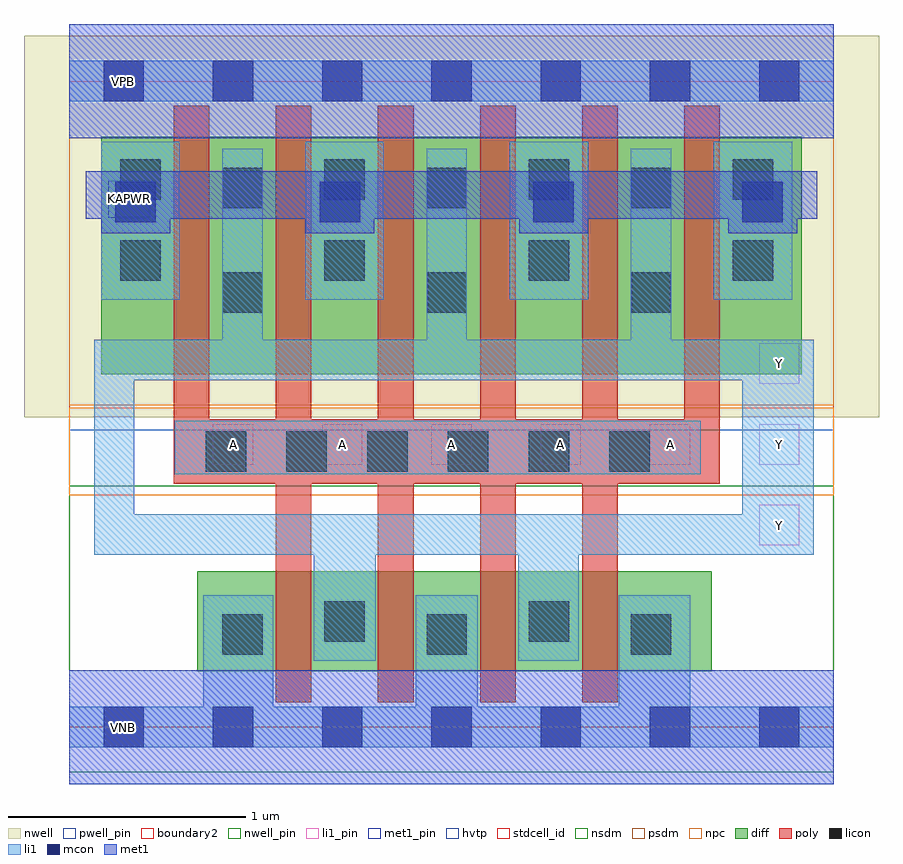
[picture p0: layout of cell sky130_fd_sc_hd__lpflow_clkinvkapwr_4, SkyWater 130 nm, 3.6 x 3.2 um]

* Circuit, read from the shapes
.subckt sky130_fd_sc_hd__lpflow_clkinvkapwr_4 A KAPWR VGND VNB VPB VPWR Y
XM1 Y A VGND VNB sky130_fd_pr__nfet_01v8 w=0.42 l=0.15 m=4
XM2 Y A KAPWR VPB sky130_fd_pr__pfet_01v8_hvt w=1 l=0.15 m=6
.ends

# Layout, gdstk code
import gdstk
lib = gdstk.Library(unit=1e-6, precision=1e-09)
def R(c, l, rs):  # rectangles x0, y0, x1, y1
    for r in rs: c.add(gdstk.rectangle(r[:2], r[2:], *l))
def A(c, l, x, y, w, h, nx, ny, dx, dy):  # array of equal rectangles
    R(c, l, [(x+i*dx, y+j*dy, x+i*dx+w, y+j*dy+h) for i in range(nx) for j in range(ny)])
def P(c, l, *ps):  # polygons
    for p in ps: c.add(gdstk.Polygon(p, *l))
nwell_pin = (64, 16)
nwell = (64, 20)
diff = (65, 20)
poly = (66, 20)
licon = (66, 44)
li1_pin = (67, 16)
li1 = (67, 20)
mcon = (67, 44)
met1_pin = (68, 16)
met1 = (68, 20)
hvtp = (78, 44)
stdcell_id = (81, 4)
nsdm = (93, 44)
psdm = (94, 20)
npc = (95, 20)
pwell_pin = (122, 16)
boundary2 = (236, 0)

sky130_fd_sc_hd__lpflow_ = lib.new_cell('sky130_fd_sc_hd__lpflow_clkinvkapwr_4')
R(sky130_fd_sc_hd__lpflow_, nwell_pin, [(0.145,2.635,0.315,2.805)])
R(sky130_fd_sc_hd__lpflow_, nwell, [(-0.19,1.305,3.41,2.91)])
R(sky130_fd_sc_hd__lpflow_, diff, [(0.54,0.235,2.705,0.655), (0.135,1.485,3.085,2.485)])
P(sky130_fd_sc_hd__lpflow_, poly, [(2.74,2.615),(2.59,2.615),(2.59,1.295),(2.31,1.295),(2.31,2.615),(2.16,2.615),(2.16,1.295),(1.88,1.295),(1.88,2.615),(1.73,2.615),(1.73,1.295),(1.45,1.295),(1.45,2.615),(1.3,2.615),(1.3,1.295),(1.02,1.295),(1.02,2.615),(0.87,2.615),(0.87,1.295),(0.59,1.295),(0.59,2.615),(0.44,2.615),(0.44,1.025),(0.87,1.025),(0.87,0.105),(1.02,0.105),(1.02,1.025),(1.3,1.025),(1.3,0.105),(1.45,0.105),(1.45,1.025),(1.73,1.025),(1.73,0.105),(1.88,0.105),(1.88,1.025),(2.16,1.025),(2.16,0.105),(2.31,0.105),(2.31,1.025),(2.74,1.025)])
A(sky130_fd_sc_hd__lpflow_, licon, 0.645, 0.305, 0.17, 0.17, 3, 2, 0.86, 1.44)
A(sky130_fd_sc_hd__lpflow_, licon, 0.575, 1.075, 0.17, 0.17, 6, 1, 0.34, 0)
A(sky130_fd_sc_hd__lpflow_, licon, 0.215, 1.88, 0.17, 0.17, 4, 2, 0.86, 0.34)
A(sky130_fd_sc_hd__lpflow_, licon, 0.645, 2.185, 0.17, 0.17, 3, 1, 0.86, 0)
R(sky130_fd_sc_hd__lpflow_, licon, [(1.075,0.36,1.245,0.53), (1.935,0.36,2.105,0.53)])
A(sky130_fd_sc_hd__lpflow_, li1_pin, 0.605, 1.105, 0.17, 0.17, 6, 1, 0.46, 0)
R(sky130_fd_sc_hd__lpflow_, li1_pin, [(2.905,0.765,3.075,0.935), (2.905,1.445,3.075,1.615)])
A(sky130_fd_sc_hd__lpflow_, li1, 0.645, 1.63, 0.17, 0.805, 3, 1, 0.86, 0)
A(sky130_fd_sc_hd__lpflow_, li1, 0.135, 1.8, 0.33, 0.665, 4, 1, 0.86, 0)
R(sky130_fd_sc_hd__lpflow_, li1, [(0.445,1.065,2.66,1.29), (0,2.635,3.22,2.805)])
P(sky130_fd_sc_hd__lpflow_, li1, [(3.22,0.085),(2.615,0.085),(2.615,0.555),(2.315,0.555),(2.315,0.085),(1.72,0.085),(1.72,0.555),(1.46,0.555),(1.46,0.085),(0.86,0.085),(0.86,0.555),(0.565,0.555),(0.565,0.085),(0,0.085),(0,-0.085),(3.22,-0.085)],
  [(3.135,1.63),(2.835,1.63),(2.835,0.895),(0.275,0.895),(0.275,1.46),(2.835,1.46),(2.835,1.63),(0.105,1.63),(0.105,0.725),(1.03,0.725),(1.03,0.28),(1.29,0.28),(1.29,0.725),(1.89,0.725),(1.89,0.28),(2.145,0.28),(2.145,0.725),(3.135,0.725)])
A(sky130_fd_sc_hd__lpflow_, mcon, 0.145, -0.085, 0.17, 0.17, 7, 2, 0.46, 2.72)
R(sky130_fd_sc_hd__lpflow_, mcon, [(0.195,2.125,0.365,2.295), (1.055,2.125,1.225,2.295), (1.955,2.125,2.125,2.295), (2.835,2.125,3.005,2.295)])
R(sky130_fd_sc_hd__lpflow_, met1_pin, [(0.145,-0.085,0.315,0.085), (0.165,2.145,0.34,2.3), (0.145,2.635,0.315,2.805)])
P(sky130_fd_sc_hd__lpflow_, met1, [(3.15,2.34),(0.07,2.34),(0.07,2.14),(0.135,2.14),(0.135,2.08),(0.425,2.08),(0.425,2.14),(0.995,2.14),(0.995,2.08),(1.285,2.08),(1.285,2.14),(1.895,2.14),(1.895,2.08),(2.185,2.08),(2.185,2.14),(2.775,2.14),(2.775,2.08),(3.065,2.08),(3.065,2.14),(3.15,2.14)])
R(sky130_fd_sc_hd__lpflow_, hvtp, [(0,1.25,3.22,2.72)])
R(sky130_fd_sc_hd__lpflow_, stdcell_id, [(0,0,3.22,2.72)])
R(sky130_fd_sc_hd__lpflow_, nsdm, [(0,-0.19,3.22,1.015)])
R(sky130_fd_sc_hd__lpflow_, psdm, [(0,1.355,3.22,2.91)])
R(sky130_fd_sc_hd__lpflow_, npc, [(0,0.975,3.22,1.345)])
R(sky130_fd_sc_hd__lpflow_, pwell_pin, [(0.145,-0.085,0.315,0.085)])
R(sky130_fd_sc_hd__lpflow_, boundary2, [(0,0,3.22,2.72)])
sky130_fd_sc_hd__lpflow_.add(gdstk.FlexPath([(0,2.72),(3.22,2.72)], 0.48, ends="flush", simple_path=True, layer=68, datatype=20))  # met1
sky130_fd_sc_hd__lpflow_.add(gdstk.FlexPath([(0,0),(3.22,0)], 0.48, ends="flush", simple_path=True, layer=68, datatype=20))  # met1
sky130_fd_sc_hd__lpflow_.add(gdstk.Label('A', (1.15,1.19), layer=67, texttype=5))
sky130_fd_sc_hd__lpflow_.add(gdstk.Label('A', (1.61,1.19), layer=67, texttype=5))
sky130_fd_sc_hd__lpflow_.add(gdstk.Label('Y', (2.99,0.85), layer=67, texttype=5))
sky130_fd_sc_hd__lpflow_.add(gdstk.Label('A', (0.69,1.19), layer=67, texttype=5))
sky130_fd_sc_hd__lpflow_.add(gdstk.Label('Y', (2.99,1.53), layer=67, texttype=5))
sky130_fd_sc_hd__lpflow_.add(gdstk.Label('A', (2.53,1.19), layer=67, texttype=5))
sky130_fd_sc_hd__lpflow_.add(gdstk.Label('A', (2.07,1.19), layer=67, texttype=5))
sky130_fd_sc_hd__lpflow_.add(gdstk.Label('Y', (2.99,1.19), layer=67, texttype=5))
sky130_fd_sc_hd__lpflow_.add(gdstk.Label('VNB', (0.23,0), layer=64, texttype=59))
sky130_fd_sc_hd__lpflow_.add(gdstk.Label('VPB', (0.23,2.72), layer=64, texttype=5))
sky130_fd_sc_hd__lpflow_.add(gdstk.Label('KAPWR', (0.255,2.225), layer=68, texttype=5))
sky130_fd_sc_hd__lpflow_.add(gdstk.Label('VPWR', (0.23,2.72), layer=68, texttype=5))
sky130_fd_sc_hd__lpflow_.add(gdstk.Label('VGND', (0.23,0), layer=68, texttype=5))
sky130_fd_sc_hd__lpflow_.add(gdstk.Label('lpflow_clkinvkapwr_4', (0,0), layer=83, texttype=44))

lib.write_gds('sky130_fd_sc_hd__lpflow_clkinvkapwr_4.gds')
